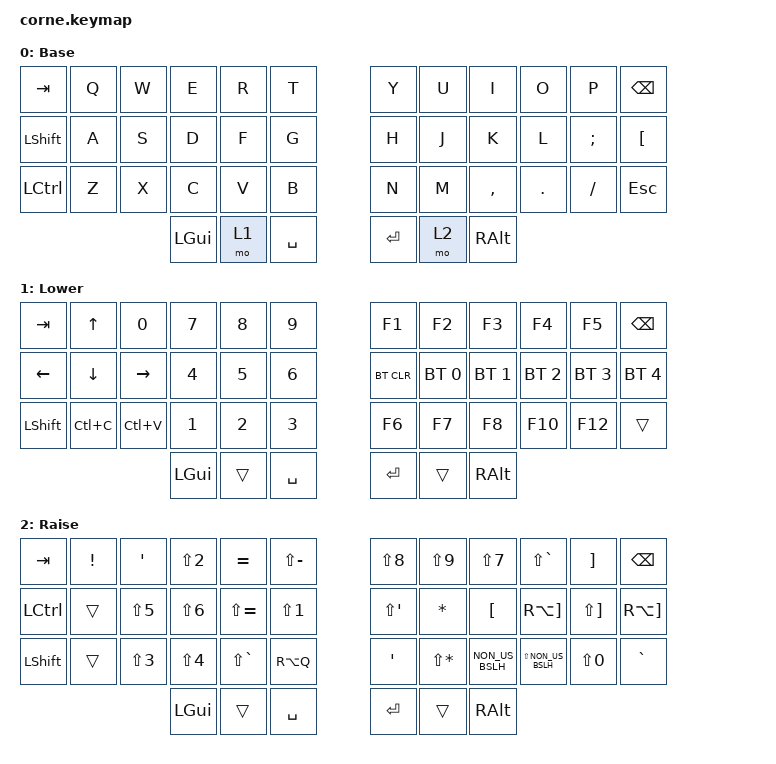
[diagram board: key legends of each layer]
/*
 * Copyright (c) 2020 The ZMK Contributors
 *
 * SPDX-License-Identifier: MIT
 */

#include <behaviors.dtsi>
#include <dt-bindings/zmk/bt.h>
#include <dt-bindings/zmk/keys.h>

/ {
    keymap {
        compatible = "zmk,keymap";

        default_layer {
            // -----------------------------------------------------------------------------------------
            // |  TAB |  Q  |  W  |  E  |  R  |  T  |   |  Y  |  U   |  I  |  O  |  P  | BKSP |
            // | CTRL |  A  |  S  |  D  |  F  |  G  |   |  H  |  J   |  K  |  L  |  ;  |  '   |
            // | SHFT |  Z  |  X  |  C  |  V  |  B  |   |  N  |  M   |  ,  |  .  |  /  | ESC  |
            //                    | GUI | LWR | SPC |   | ENT | RSE  | ALT |

            display-name = "Base";
            bindings = <
&kp TAB           &kp Q  &kp W  &kp E     &kp R  &kp T        &kp Y    &kp U  &kp I      &kp O    &kp P     &kp BSPC
&kp LEFT_SHIFT    &kp A  &kp S  &kp D     &kp F  &kp G        &kp H    &kp J  &kp K      &kp L    &kp SEMI  &kp LBKT
&kp LEFT_CONTROL  &kp Z  &kp X  &kp C     &kp V  &kp B        &kp N    &kp M  &kp COMMA  &kp DOT  &kp FSLH  &kp ESC
                                &kp LGUI  &mo 1  &kp SPACE    &kp RET  &mo 2  &kp RALT
            >;
        };

        lower_layer {
            // -----------------------------------------------------------------------------------------
            // |  TAB |  1  |  2  |  3  |  4  |  5  |   |  6  |  7  |  8  |  9  |  0  | BKSP |
            // | BTCLR| BT1 | BT2 | BT3 | BT4 | BT5 |   | LFT | DWN |  UP | RGT |     |      |
            // | SHFT |     |     |     |     |     |   |     |     |     |     |     |      |
            //                    | GUI |     | SPC |   | ENT |     | ALT |

            display-name = "Lower";
            bindings = <
&kp TAB         &kp UP_ARROW  &kp NUMBER_0  &kp NUMBER_7  &kp NUMBER_8  &kp NUMBER_9    &kp F1      &kp F2        &kp F3        &kp F4        &kp F5        &kp BSPC
&kp LEFT        &kp DOWN      &kp RIGHT     &kp NUMBER_4  &kp NUMBER_5  &kp NUMBER_6    &bt BT_CLR  &bt BT_SEL 0  &bt BT_SEL 1  &bt BT_SEL 2  &bt BT_SEL 3  &bt BT_SEL 4
&kp LEFT_SHIFT  &kp LC(C)     &kp LC(V)     &kp NUMBER_1  &kp NUMBER_2  &kp NUMBER_3    &kp F6      &kp F7        &kp F8        &kp F10       &kp F12       &trans
                                            &kp LGUI      &trans        &kp SPACE       &kp RET     &trans        &kp RALT
            >;
        };

        raise_layer {
            // -----------------------------------------------------------------------------------------
            // |  TAB |  !  |  @  |  #  |  $  |  %  |   |  ^  |  &  |  *  |  (  |  )  | BKSP |
            // | CTRL |     |     |     |     |     |   |  -  |  =  |  [  |  ]  |  \  |  `   |
            // | SHFT |     |     |     |     |     |   |  _  |  +  |  {  |  }  | "|" |  ~   |
            //                    | GUI |     | SPC |   | ENT |     | ALT |

            display-name = "Raise";
            bindings = <
&kp TAB    &kp EXCL  &kp SINGLE_QUOTE  &kp LS(NUMBER_2)  &kp EQUAL      &kp LS(MINUS)       &kp LS(NUMBER_8)  &kp LS(NUMBER_9)  &kp LS(NUMBER_7)  &kp LS(GRAVE)          &kp RIGHT_BRACKET      &kp BSPC
&kp LCTRL  &trans    &kp LS(NUMBER_5)  &kp LS(NUMBER_6)  &kp LS(EQUAL)  &kp LS(NUMBER_1)    &kp LS(SQT)       &kp ASTRK         &kp LBKT          &kp RA(RIGHT_BRACKET)  &kp LS(RIGHT_BRACKET)  &kp RA(RIGHT_BRACKET)
&kp LSHFT  &trans    &kp LS(NUMBER_3)  &kp LS(NUMBER_4)  &kp LS(GRAVE)  &kp RA(Q)           &kp SQT           &kp LS(ASTERISK)  &kp NON_US_BSLH   &kp LS(NON_US_BSLH)    &kp LS(NUMBER_0)       &kp GRAVE
                                       &kp LGUI          &trans         &kp SPACE           &kp RET           &trans            &kp RALT
            >;
        };

        extra_1 { status = "reserved"; };

        extra_2 { status = "reserved"; };

        extra_3 { status = "reserved"; };
    };
};
